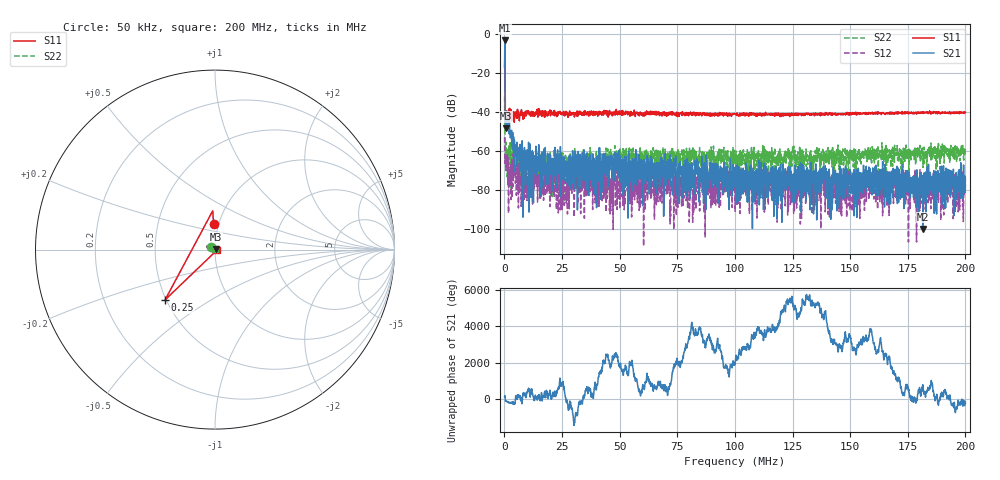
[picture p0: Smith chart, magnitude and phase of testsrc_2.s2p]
! 26-Feb-26 2:10:01 PM
! E:\VNA_MEASUREMENTS\CAL_ENDS\TESTSRC_2.S2P
! CHANNEL.1
! TR.MEASUREMENT
! CORRECTED.DATA
# GHZ S RI R 50.0
! FREQ.GHZ  S11RE  S11IM  S21RE  S21IM  S12RE  S12IM  S22RE  S22IM
!; PortSelection: Port_12
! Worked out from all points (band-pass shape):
!   2000 points, 50 kHz to 200 MHz, reference 50 ohm
!   highest |S21| = -3.48 dB at 150 kHz (marker M1); lowest = -99.7 dB at 181.6 MHz (marker M2)
!   |S21| within 3 dB of the highest: 128 kHz to 166.5 kHz (38.54 kHz wide, 26.2 % of centre)
!   lowest |S11| = -48.3 dB at 750.2 kHz (marker M3), VSWR 1.01, Z = 50.3 + j0.2 ohm
!   |S11| at or under -10 dB: start of sweep to 213.2 kHz; 256.4 kHz to end of sweep
!   |S22| runs from -87.2 to -32.2 dB; largest |S21 - S12| = 0.67
!   S11 on the Smith chart (normalised r, x): 50 kHz: 0.94, +0.28; 250 kHz: 0.49, -0.33; 200 MHz: 1.02, -0.00
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5e-05  -0.00792 0.1439  -0.0331 0.1361  0.00198 -0.00107  -0.0195 0.0149
0.000150025  -0.0126 0.2162  -0.6663 -0.0711  -0.000288 -0.000382  0.00207 -0.00411
0.00025005  -0.2779 -0.2797  -0.00247 0.0823  0.000678 -4.45e-05  0.000837 -0.00236
0.000750175  0.00329 0.00199  -0.00466 -0.00955  2.74e-05 -0.000774  -0.000452 0.000929
0.001350325  0.00693 0.000541  -0.00432 -0.00339  0.000481 -0.000156  -0.000734 0.000766
0.003950975  0.00596 0.00142  -0.00223 0.000635  2.45e-05 -0.000296  0.000378 5.44e-05
0.008252051  0.00752 -0.00327  0.000112 -1.94e-05  -8e-07 -0.000243  0.000678 0.000337
0.01015253  0.0108 0.000682  -0.000602 0.000352  8.24e-05 -0.00012  2.31e-05 -6.86e-05
0.01875468  0.00873 -0.000255  -0.0002 -0.000137  6.1e-05 7.79e-05  0.000308 9.77e-05
0.03345835  0.00936 -0.000603  -0.000359 0.000409  -8.31e-05 -0.000193  0.00065 0.000261
0.06676668  0.00898 -9.15e-05  -7.46e-05 -0.000267  0.000282 -0.000111  0.000519 0.000507
0.100075  0.00877 -0.00079  -0.000369 -0.000104  2.38e-05 -1.62e-05  0.000439 0.000385
0.1249812  0.00892 -0.000316  0.000136 -0.000215  -8.24e-05 -2.45e-05  0.000485 0.000785
0.1333833  0.00897 -0.000696  0.000117 0.00019  2.45e-05 4.5e-06  -0.000106 0.00012
0.1355839  0.00845 -0.00126  -0.000255 -0.000135  -0.000116 -0.000175  0.00115 0.000661
0.1410853  0.00906 -0.00107  0.000207 -4.27e-05  -0.000118 4.07e-05  0.00071 0.000387
0.1614904  0.00915 -0.00148  0.00021 -1.78e-05  0.000129 -3.6e-06  0.00058 0.00075
0.1666917  0.00898 -0.00126  -0.000104 4.3e-05  -0.000176 -0.000103  0.00024 0.001
0.1693923  0.0094 -0.00152  -0.000103 -0.000273  -0.00016 -0.000261  0.000833 0.000583
0.1815954  0.00987 -0.00143  6.5e-06 -8e-06  4.06e-05 0.000135  0.000197 0.000328
0.1964991  0.00987 -0.00103  3.26e-05 -6.52e-05  -4.13e-05 -0.000102  0.000536 0.000919
0.2  0.00979 -0.000875  -0.000122 6.69e-05  1.42e-05 -0.000199  0.000462 0.000881
